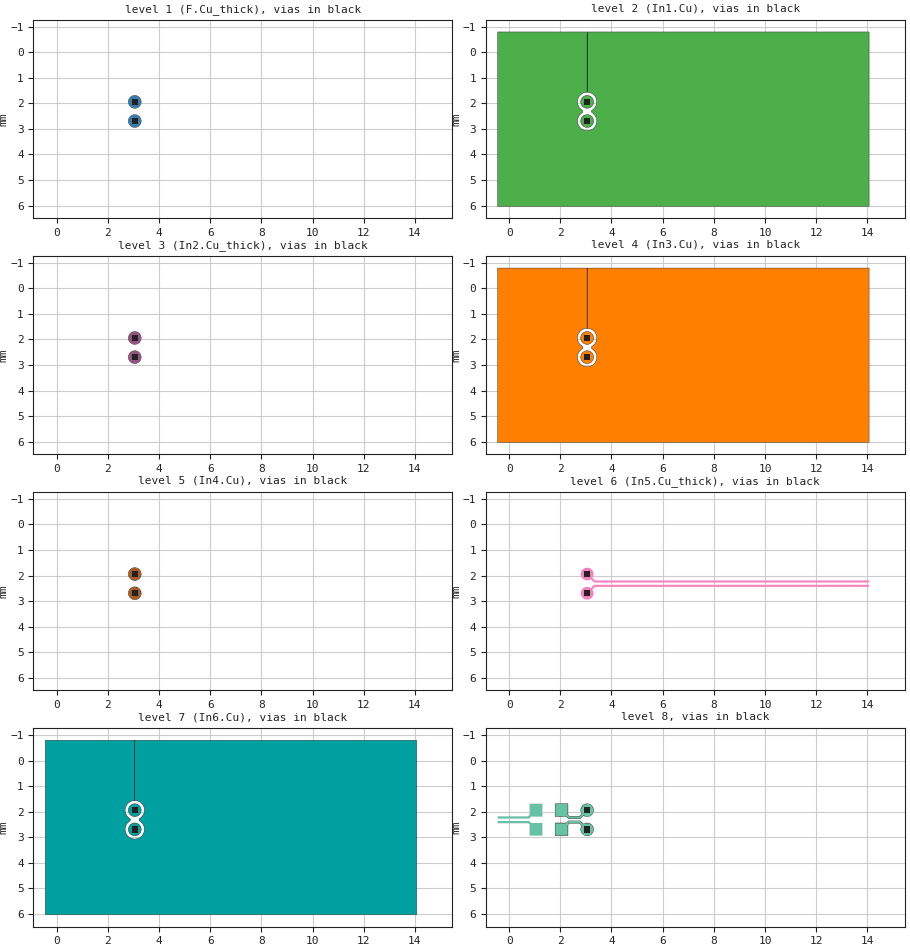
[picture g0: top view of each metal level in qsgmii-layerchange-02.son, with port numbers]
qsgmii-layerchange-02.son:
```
FTYP SONPROJ 19 ! Sonnet Project File
VER 18.56
HEADER
LIC antikernel2.1.52448
DAT 06/25/2023 11:23:11
BUILT_BY_CREATED dxf 18.56 06/07/2023 00:06:12
BUILT_BY_SAVED sonnet 18.56
MDATE 06/25/2023 11:23:11
HDATE 06/25/2023 11:23:11
ANN Created by dxfgeo, Sonnet Software Inc.
END HEADER
DIM
ANG DEG
CAP PF
CON /OH
FREQ GHZ
IND NH
LNG MM
RES OH
END DIM
CONTROL
VARSWP
OPTIONS  -dj
SPEED 1
CACHE_ABS 2
Q_ACC N
END CONTROL
GEO
TMET "Free Space" 0 FREESPACE 376.7303136 0 0 0
BMET "Free Space" 0 FREESPACE 376.7303136 0 0 0
MET "Copper_1oz_thin" 1 NOR 58000000 0.5 0.035 
MET "Copper_1oz_thick" 2 TMM 58000000 0.5 0.035 2
MET "Copper_0.5oz_thin" 4 NOR 58000000 0.5 0.017 
MET "Copper_0.5oz_thick" 12 TMM 58000000 0.5 0.017 2
MET "Copper_0.5oz_thick_down" 5 TMM 58000000 0.5 0.017 2 CDVY TDWN
MET "Copper_1oz_thick_down" 3 TMM 58000000 0.5 0.035 2 CDVY TDWN
BOX 10 15 4.2 3000 840 20 0
      5 1 1 0 0 0 0 "Air"
      0.04 3.5 1 0.025 0 0 0 "Soldermask"
      0.075 3.9 1 0.008 0 0 0 "TU-872_SLK"
      0.1 3.9 1 0.008 0 0 0 "TU-872_SLK"
      0.143 3.9 1 0.008 0 0 0 "TU-872_SLK"
      0.7 4.49 1 0.016 0 0 0 "Shengyi_S1000-2M"
      0.143 3.9 1 0.008 0 0 0 "TU-872_SLK"
      0.1 3.9 1 0.008 0 0 0 "TU-872_SLK"
      0.075 3.9 1 0.008 0 0 0 "TU-872_SLK"
      0.04 3.5 1 0.025 0 0 0 "Soldermask"
      5 1 1 0 0 0 0 "Air"
TECHLAY VIA Via1 L9D0 -13 -65534 CAD Via1 drawing 
VIA POLYGON
1 0 -1 N 2706 1 1 100 100 0 0 0 Y
TOLEVEL 8 RING NOCOVERS
END
END
TECHLAY METAL F.Cu_thick L1D0 -2 -65534 CAD F.Cu_thick drawing 
1 0 1 N 2708 1 1 100 100 0 0 0 Y
END
END
TECHLAY METAL F.Cu_thin <UNSPECIFIED> -1 -65534 CAD F.Cu_thin drawing 
1 0 0 N 2710 1 1 100 100 0 0 0 Y
END
END
TECHLAY METAL In1.Cu L2D0 -3 -65534 CAD In1.Cu drawing 
2 0 0 N 2713 1 1 100 100 0 0 0 Y
END
END
TECHLAY METAL In2.Cu_thick L3D0 -5 -65534 CAD In2.Cu_thick drawing 
3 0 3 N 2716 1 1 100 100 0 0 0 Y
END
END
TECHLAY METAL In2.Cu_thin <UNSPECIFIED> -4 -65534 CAD In2.Cu drawing 
3 0 2 N 2718 1 1 100 100 0 0 0 Y
END
END
TECHLAY METAL In3.Cu L4D0 -6 -65534 CAD In3.Cu drawing 
4 0 0 N 2721 1 1 100 100 0 0 0 Y
END
END
TECHLAY METAL In4.Cu L5D0 -7 -65534 CAD In4.Cu drawing 
5 0 0 N 2724 1 1 100 100 0 0 0 Y
END
END
TECHLAY METAL In5.Cu_thick L6D0 -9 -65534 CAD In5.Cu_thick drawing 
6 0 4 N 2727 1 1 100 100 0 0 0 Y
END
END
TECHLAY METAL In5.Cu_thin <UNSPECIFIED> -8 -65534 CAD In5.Cu drawing 
6 0 2 N 2729 1 1 100 100 0 0 0 Y
END
END
TECHLAY METAL In6.Cu L7D0 -10 -65534 CAD In6.Cu drawing 
7 0 0 N 2732 1 1 100 100 0 0 0 Y
END
END
TECHLAY METAL B.Cu_thick L8D0 -12 -65534 CAD B.Cu_thick drawing 
8 0 5 N 2735 1 1 100 100 0 0 0 Y
END
END
TECHLAY METAL B.Cu_thin <UNSPECIFIED> -11 -65534 CAD B.Cu_thin drawing 
8 0 0 N 2737 1 1 100 100 0 0 0 Y
END
END
VALVAR CORE_ER NONE "table1(\"../../../sata-sniffer/sims/core_er.csv\",FREQ)" "Variable set in material file"
VALVAR CORE_DF NONE "table1(\"../../../sata-sniffer/sims/core_df.csv\",FREQ)" "Variable set in material file"
VALVAR PREPREG_DF NONE "table1(\"../../../sata-sniffer/sims/prepreg_df.csv\",FREQ)" "Variable set in material file"
VALVAR PREPREG_ER NONE "table1(\"../../../sata-sniffer/sims/prepreg_er.csv\",FREQ)" "Variable set in material file"
LORGN 0 4.2 U 
NUM 23
VIA POLYGON
1 5 -1 N 2429 1 1 100 100 0 0 0 Y
TOLEVEL 8 RING NOCOVERS
TLAYNAM Via1 INH
2.9235625 2.816914063
2.9235625 2.566914063
3.1735625 2.566914063
3.1735625 2.816914063
2.9235625 2.816914063
END
VIA POLYGON
1 5 -1 N 2431 1 1 100 100 0 0 0 Y
TOLEVEL 8 RING NOCOVERS
TLAYNAM Via1 INH
2.9235625 2.066914063
2.9235625 1.816914063
3.1735625 1.816914063
3.1735625 2.066914063
2.9235625 2.066914063
END
1 65 1 N 129 1 1 100 100 0 0 0 Y
TLAYNAM F.Cu_thick INH
3.0365625 2.941914063
3.0115625 2.938914063
2.9875625 2.934914062
2.9645625 2.926914063
2.9415625 2.917914063
2.9195625 2.905914062
2.8995625 2.892914063
2.8805625 2.876914063
2.8635625 2.859914063
2.8475625 2.840914063
2.8345625 2.820914063
2.8225625 2.798914063
2.8135625 2.775914063
2.8055625 2.752914063
2.8015625 2.728914063
2.7985625 2.703914063
2.7985625 2.679914063
2.8015625 2.654914063
2.8055625 2.630914063
2.8135625 2.607914062
2.8225625 2.584914063
2.8345625 2.562914062
2.8475625 2.542914063
2.8635625 2.523914063
2.8805625 2.506914062
2.8995625 2.490914063
2.9195625 2.477914063
2.9415625 2.465914063
2.9645625 2.456914063
2.9875625 2.448914063
3.0115625 2.444914063
3.0365625 2.441914063
3.0605625 2.441914063
3.0855625 2.444914063
3.1095625 2.448914063
3.1325625 2.456914063
3.1555625 2.465914063
3.1775625 2.477914063
3.1975625 2.490914063
3.2165625 2.506914062
3.2335625 2.523914063
3.2495625 2.542914063
3.2625625 2.562914062
3.2745625 2.584914063
3.2835625 2.607914062
3.2915625 2.630914063
3.2955625 2.654914063
3.2985625 2.679914063
3.2985625 2.703914063
3.2955625 2.728914063
3.2915625 2.752914063
3.2835625 2.775914063
3.2745625 2.798914063
3.2625625 2.820914063
3.2495625 2.840914063
3.2335625 2.859914063
3.2165625 2.876914063
3.1975625 2.892914063
3.1775625 2.905914062
3.1555625 2.917914063
3.1325625 2.926914063
3.1095625 2.934914062
3.0855625 2.938914063
3.0605625 2.941914063
3.0365625 2.941914063
END
1 65 1 N 127 1 1 100 100 0 0 0 Y
TLAYNAM F.Cu_thick INH
3.0365625 2.191914063
3.0115625 2.188914063
2.9875625 2.184914062
2.9645625 2.176914063
2.9415625 2.167914062
2.9195625 2.155914062
2.8995625 2.142914063
2.8805625 2.126914063
2.8635625 2.109914063
2.8475625 2.090914063
2.8345625 2.070914063
2.8225625 2.048914063
2.8135625 2.025914063
2.8055625 2.002914063
2.8015625 1.978914063
2.7985625 1.953914063
2.7985625 1.929914063
2.8015625 1.904914063
2.8055625 1.880914063
2.8135625 1.857914062
2.8225625 1.834914063
2.8345625 1.812914062
2.8475625 1.792914062
2.8635625 1.773914063
2.8805625 1.756914062
2.8995625 1.740914063
2.9195625 1.727914063
2.9415625 1.715914063
2.9645625 1.706914063
2.9875625 1.698914063
3.0115625 1.694914063
3.0365625 1.691914063
3.0605625 1.691914063
3.0855625 1.694914063
3.1095625 1.698914063
3.1325625 1.706914063
3.1555625 1.715914063
3.1775625 1.727914063
3.1975625 1.740914063
3.2165625 1.756914062
3.2335625 1.773914063
3.2495625 1.792914062
3.2625625 1.812914062
3.2745625 1.834914063
3.2835625 1.857914062
3.2915625 1.880914063
3.2955625 1.904914063
3.2985625 1.929914063
3.2985625 1.953914063
3.2955625 1.978914063
3.2915625 2.002914063
3.2835625 2.025914063
3.2745625 2.048914063
3.2625625 2.070914063
3.2495625 2.090914063
3.2335625 2.109914063
3.2165625 2.126914063
3.1975625 2.142914063
3.1775625 2.155914062
3.1555625 2.167914062
3.1325625 2.176914063
3.1095625 2.184914062
3.0855625 2.188914063
3.0605625 2.191914063
3.0365625 2.191914063
END
2 65 0 N 556 1 1 100 100 0 0 0 Y
TLAYNAM In1.Cu INH
3.0365625 2.941914063
3.0115625 2.938914063
2.9875625 2.934914062
2.9645625 2.926914063
2.9415625 2.917914063
2.9195625 2.905914062
2.8995625 2.892914063
2.8805625 2.876914063
2.8635625 2.859914063
2.8475625 2.840914063
2.8345625 2.820914063
2.8225625 2.798914063
2.8135625 2.775914063
2.8055625 2.752914063
2.8015625 2.728914063
2.7985625 2.703914063
2.7985625 2.679914063
2.8015625 2.654914063
2.8055625 2.630914063
2.8135625 2.607914062
2.8225625 2.584914063
2.8345625 2.562914062
2.8475625 2.542914063
2.8635625 2.523914063
2.8805625 2.506914062
2.8995625 2.490914063
2.9195625 2.477914063
2.9415625 2.465914063
2.9645625 2.456914063
2.9875625 2.448914063
3.0115625 2.444914063
3.0365625 2.441914063
3.0605625 2.441914063
3.0855625 2.444914063
3.1095625 2.448914063
3.1325625 2.456914063
3.1555625 2.465914063
3.1775625 2.477914063
3.1975625 2.490914063
3.2165625 2.506914062
3.2335625 2.523914063
3.2495625 2.542914063
3.2625625 2.562914062
3.2745625 2.584914063
3.2835625 2.607914062
3.2915625 2.630914063
3.2955625 2.654914063
3.2985625 2.679914063
3.2985625 2.703914063
3.2955625 2.728914063
3.2915625 2.752914063
3.2835625 2.775914063
3.2745625 2.798914063
3.2625625 2.820914063
3.2495625 2.840914063
3.2335625 2.859914063
3.2165625 2.876914063
3.1975625 2.892914063
3.1775625 2.905914062
3.1555625 2.917914063
3.1325625 2.926914063
3.1095625 2.934914062
3.0855625 2.938914063
3.0605625 2.941914063
3.0365625 2.941914063
END
2 65 0 N 558 1 1 100 100 0 0 0 Y
TLAYNAM In1.Cu INH
3.0365625 2.191914063
3.0115625 2.188914063
2.9875625 2.184914062
2.9645625 2.176914063
2.9415625 2.167914062
2.9195625 2.155914062
2.8995625 2.142914063
2.8805625 2.126914063
2.8635625 2.109914063
2.8475625 2.090914063
2.8345625 2.070914063
2.8225625 2.048914063
2.8135625 2.025914063
2.8055625 2.002914063
2.8015625 1.978914063
2.7985625 1.953914063
2.7985625 1.929914063
2.8015625 1.904914063
2.8055625 1.880914063
2.8135625 1.857914062
2.8225625 1.834914063
2.8345625 1.812914062
2.8475625 1.792914062
2.8635625 1.773914063
2.8805625 1.756914062
2.8995625 1.740914063
2.9195625 1.727914063
2.9415625 1.715914063
2.9645625 1.706914063
2.9875625 1.698914063
3.0115625 1.694914063
3.0365625 1.691914063
3.0605625 1.691914063
3.0855625 1.694914063
3.1095625 1.698914063
3.1325625 1.706914063
3.1555625 1.715914063
3.1775625 1.727914063
3.1975625 1.740914063
3.2165625 1.756914062
3.2335625 1.773914063
3.2495625 1.792914062
3.2625625 1.812914062
3.2745625 1.834914063
3.2835625 1.857914062
3.2915625 1.880914063
3.2955625 1.904914063
3.2985625 1.929914063
3.2985625 1.953914063
3.2955625 1.978914063
3.2915625 2.002914063
3.2835625 2.025914063
3.2745625 2.048914063
3.2625625 2.070914063
3.2495625 2.090914063
3.2335625 2.109914063
3.2165625 2.126914063
3.1975625 2.142914063
3.1775625 2.155914062
3.1555625 2.167914062
3.1325625 2.176914063
3.1095625 2.184914062
3.0855625 2.188914063
3.0605625 2.191914063
3.0365625 2.191914063
END
2 64 0 N 2880 1 1 100 100 0 0 0 Y
TLAYNAM In1.Cu INH
14.07 -0.79
3.0485625 -0.79
3.0485625 1.561914063
3.0535625 1.562914062
3.1015625 1.569914063
3.1655625 1.579914063
3.2715625 1.633914063
3.3565625 1.718914063
3.4035625 1.811914063
3.4105625 1.824914062
3.4105625 1.828914063
3.4255625 1.923914063
3.4285625 1.941914063
3.4105625 2.058914063
3.3565625 2.164914062
3.2715625 2.249914063
3.2475625 2.261914063
3.2205625 2.288914063
3.2165625 2.335914063
3.2475625 2.371914063
3.2715625 2.383914063
3.3565625 2.468914063
3.4105625 2.574914062
3.4285625 2.691914063
3.4275625 2.696914062
3.4265625 2.705914062
3.4105625 2.808914063
3.4085625 2.811914063
3.3565625 2.914914063
3.2715625 2.999914063
3.1655625 3.053914062
3.0485625 3.071914062
2.9315625 3.053914062
2.8255625 2.999914063
2.7405625 2.914914063
2.6865625 2.808914063
2.6705625 2.705914062
2.6695625 2.696914062
2.6685625 2.691914063
2.6865625 2.574914062
2.7405625 2.468914063
2.8255625 2.383914063
2.8495625 2.371914063
2.8765625 2.344914063
2.8805625 2.297914063
2.8495625 2.261914063
2.8255625 2.249914063
2.7405625 2.164914062
2.6865625 2.058914063
2.6685625 1.941914063
2.6715625 1.923914063
2.6865625 1.828914063
2.6865625 1.824914062
2.7405625 1.718914063
2.8255625 1.633914063
2.9315625 1.579914063
2.9955625 1.569914063
3.0435625 1.562914062
3.0485625 1.561914063
3.0485625 -0.79
-0.45 -0.79
-0.45 6.025914063
14.07 6.025914063
14.07 -0.79
END
3 65 3 N 793 1 1 100 100 0 0 0 Y
TLAYNAM In2.Cu_thick INH
3.0365625 2.191914063
3.0115625 2.188914063
2.9875625 2.184914062
2.9645625 2.176914063
2.9415625 2.167914062
2.9195625 2.155914062
2.8995625 2.142914063
2.8805625 2.126914063
2.8635625 2.109914063
2.8475625 2.090914063
2.8345625 2.070914063
2.8225625 2.048914063
2.8135625 2.025914063
2.8055625 2.002914063
2.8015625 1.978914063
2.7985625 1.953914063
2.7985625 1.929914063
2.8015625 1.904914063
2.8055625 1.880914063
2.8135625 1.857914062
2.8225625 1.834914063
2.8345625 1.812914062
2.8475625 1.792914062
2.8635625 1.773914063
2.8805625 1.756914062
2.8995625 1.740914063
2.9195625 1.727914063
2.9415625 1.715914063
2.9645625 1.706914063
2.9875625 1.698914063
3.0115625 1.694914063
3.0365625 1.691914063
3.0605625 1.691914063
3.0855625 1.694914063
3.1095625 1.698914063
3.1325625 1.706914063
3.1555625 1.715914063
3.1775625 1.727914063
3.1975625 1.740914063
3.2165625 1.756914062
3.2335625 1.773914063
3.2495625 1.792914062
3.2625625 1.812914062
3.2745625 1.834914063
3.2835625 1.857914062
3.2915625 1.880914063
3.2955625 1.904914063
3.2985625 1.929914063
3.2985625 1.953914063
3.2955625 1.978914063
3.2915625 2.002914063
3.2835625 2.025914063
3.2745625 2.048914063
3.2625625 2.070914063
3.2495625 2.090914063
3.2335625 2.109914063
3.2165625 2.126914063
3.1975625 2.142914063
3.1775625 2.155914062
3.1555625 2.167914062
3.1325625 2.176914063
3.1095625 2.184914062
3.0855625 2.188914063
3.0605625 2.191914063
3.0365625 2.191914063
END
3 65 3 N 792 1 1 100 100 0 0 0 Y
TLAYNAM In2.Cu_thick INH
3.0365625 2.941914063
3.0115625 2.938914063
2.9875625 2.934914062
2.9645625 2.926914063
2.9415625 2.917914063
2.9195625 2.905914062
2.8995625 2.892914063
2.8805625 2.876914063
2.8635625 2.859914063
2.8475625 2.840914063
2.8345625 2.820914063
2.8225625 2.798914063
2.8135625 2.775914063
2.8055625 2.752914063
2.8015625 2.728914063
2.7985625 2.703914063
2.7985625 2.679914063
2.8015625 2.654914063
2.8055625 2.630914063
2.8135625 2.607914062
2.8225625 2.584914063
2.8345625 2.562914062
2.8475625 2.542914063
2.8635625 2.523914063
2.8805625 2.506914062
2.8995625 2.490914063
2.9195625 2.477914063
2.9415625 2.465914063
2.9645625 2.456914063
2.9875625 2.448914063
3.0115625 2.444914063
3.0365625 2.441914063
3.0605625 2.441914063
3.0855625 2.444914063
3.1095625 2.448914063
3.1325625 2.456914063
3.1555625 2.465914063
3.1775625 2.477914063
3.1975625 2.490914063
3.2165625 2.506914062
3.2335625 2.523914063
3.2495625 2.542914063
3.2625625 2.562914062
3.2745625 2.584914063
3.2835625 2.607914062
3.2915625 2.630914063
3.2955625 2.654914063
3.2985625 2.679914063
3.2985625 2.703914063
3.2955625 2.728914063
3.2915625 2.752914063
3.2835625 2.775914063
3.2745625 2.798914063
3.2625625 2.820914063
3.2495625 2.840914063
3.2335625 2.859914063
3.2165625 2.876914063
3.1975625 2.892914063
3.1775625 2.905914062
3.1555625 2.917914063
3.1325625 2.926914063
3.1095625 2.934914062
3.0855625 2.938914063
3.0605625 2.941914063
3.0365625 2.941914063
END
4 65 0 N 1084 1 1 100 100 0 0 0 Y
TLAYNAM In3.Cu INH
3.0365625 2.191914063
3.0115625 2.188914063
2.9875625 2.184914062
2.9645625 2.176914063
2.9415625 2.167914062
2.9195625 2.155914062
2.8995625 2.142914063
2.8805625 2.126914063
2.8635625 2.109914063
2.8475625 2.090914063
2.8345625 2.070914063
2.8225625 2.048914063
2.8135625 2.025914063
2.8055625 2.002914063
2.8015625 1.978914063
2.7985625 1.953914063
2.7985625 1.929914063
2.8015625 1.904914063
2.8055625 1.880914063
2.8135625 1.857914062
2.8225625 1.834914063
2.8345625 1.812914062
2.8475625 1.792914062
2.8635625 1.773914063
2.8805625 1.756914062
2.8995625 1.740914063
2.9195625 1.727914063
2.9415625 1.715914063
2.9645625 1.706914063
2.9875625 1.698914063
3.0115625 1.694914063
3.0365625 1.691914063
3.0605625 1.691914063
3.0855625 1.694914063
3.1095625 1.698914063
3.1325625 1.706914063
3.1555625 1.715914063
3.1775625 1.727914063
3.1975625 1.740914063
3.2165625 1.756914062
3.2335625 1.773914063
3.2495625 1.792914062
3.2625625 1.812914062
3.2745625 1.834914063
3.2835625 1.857914062
3.2915625 1.880914063
3.2955625 1.904914063
3.2985625 1.929914063
3.2985625 1.953914063
3.2955625 1.978914063
3.2915625 2.002914063
3.2835625 2.025914063
3.2745625 2.048914063
3.2625625 2.070914063
3.2495625 2.090914063
3.2335625 2.109914063
3.2165625 2.126914063
3.1975625 2.142914063
3.1775625 2.155914062
3.1555625 2.167914062
3.1325625 2.176914063
3.1095625 2.184914062
3.0855625 2.188914063
3.0605625 2.191914063
3.0365625 2.191914063
END
4 65 0 N 1097 1 1 100 100 0 0 0 Y
TLAYNAM In3.Cu INH
3.0365625 2.941914063
3.0115625 2.938914063
2.9875625 2.934914062
2.9645625 2.926914063
2.9415625 2.917914063
2.9195625 2.905914062
2.8995625 2.892914063
2.8805625 2.876914063
2.8635625 2.859914063
2.8475625 2.840914063
2.8345625 2.820914063
2.8225625 2.798914063
2.8135625 2.775914063
2.8055625 2.752914063
2.8015625 2.728914063
2.7985625 2.703914063
2.7985625 2.679914063
2.8015625 2.654914063
2.8055625 2.630914063
2.8135625 2.607914062
2.8225625 2.584914063
2.8345625 2.562914062
2.8475625 2.542914063
2.8635625 2.523914063
2.8805625 2.506914062
2.8995625 2.490914063
2.9195625 2.477914063
2.9415625 2.465914063
2.9645625 2.456914063
2.9875625 2.448914063
3.0115625 2.444914063
3.0365625 2.441914063
3.0605625 2.441914063
3.0855625 2.444914063
3.1095625 2.448914063
3.1325625 2.456914063
3.1555625 2.465914063
3.1775625 2.477914063
3.1975625 2.490914063
3.2165625 2.506914062
3.2335625 2.523914063
3.2495625 2.542914063
3.2625625 2.562914062
3.2745625 2.584914063
3.2835625 2.607914062
3.2915625 2.630914063
3.2955625 2.654914063
3.2985625 2.679914063
3.2985625 2.703914063
3.2955625 2.728914063
3.2915625 2.752914063
3.2835625 2.775914063
3.2745625 2.798914063
3.2625625 2.820914063
3.2495625 2.840914063
3.2335625 2.859914063
3.2165625 2.876914063
3.1975625 2.892914063
3.1775625 2.905914062
3.1555625 2.917914063
3.1325625 2.926914063
3.1095625 2.934914062
3.0855625 2.938914063
3.0605625 2.941914063
3.0365625 2.941914063
END
4 72 0 N 2887 1 1 100 100 0 0 0 Y
TLAYNAM In3.Cu INH
13.7955625 6.025914063
14.07 6.025914063
14.07 0.36
14.07 -0.79
3.0485625 -0.79
3.0485625 1.561914063
3.0535625 1.562914062
3.0895625 1.567914063
3.1655625 1.579914063
3.2715625 1.633914063
3.3565625 1.718914063
3.4105625 1.824914062
3.4175625 1.869914062
3.4255625 1.923914063
3.4285625 1.941914063
3.4275625 1.946914062
3.4265625 1.952914062
3.4105625 2.058914063
3.3565625 2.164914062
3.2715625 2.249914063
3.2475625 2.261914063
3.2205625 2.288914063
3.2165625 2.335914063
3.2475625 2.371914063
3.2715625 2.383914063
3.3565625 2.468914063
3.4105625 2.574914062
3.4285625 2.691914063
3.4275625 2.696914062
3.4265625 2.705914062
3.4105625 2.808914063
3.3565625 2.914914063
3.2715625 2.999914063
3.1655625 3.053914062
3.0485625 3.071914062
2.9315625 3.053914062
2.8255625 2.999914063
2.7405625 2.914914063
2.6865625 2.808914063
2.6705625 2.705914062
2.6695625 2.696914062
2.6685625 2.691914063
2.6865625 2.574914062
2.7405625 2.468914063
2.8255625 2.383914063
2.8495625 2.371914063
2.8765625 2.344914063
2.8805625 2.297914063
2.8495625 2.261914063
2.8255625 2.249914063
2.7405625 2.164914062
2.6865625 2.058914063
2.6705625 1.952914062
2.6695625 1.946914062
2.6685625 1.941914063
2.6715625 1.923914063
2.6795625 1.869914062
2.6865625 1.824914062
2.7405625 1.718914063
2.8255625 1.633914063
2.9315625 1.579914063
3.0075625 1.567914063
3.0435625 1.562914062
3.0485625 1.561914063
3.0485625 -0.79
-0.45 -0.79
-0.45 0.441914063
-0.45 3.228914063
-0.45 3.228914063
-0.45 6.025914063
13.7955625 6.025914063
13.7955625 6.025914063
END
5 65 0 N 1344 1 1 100 100 0 0 0 Y
TLAYNAM In4.Cu INH
3.0365625 2.191914063
3.0115625 2.188914063
2.9875625 2.184914062
2.9645625 2.176914063
2.9415625 2.167914062
2.9195625 2.155914062
2.8995625 2.142914063
2.8805625 2.126914063
2.8635625 2.109914063
2.8475625 2.090914063
2.8345625 2.070914063
2.8225625 2.048914063
2.8135625 2.025914063
2.8055625 2.002914063
2.8015625 1.978914063
2.7985625 1.953914063
2.7985625 1.929914063
2.8015625 1.904914063
2.8055625 1.880914063
2.8135625 1.857914062
2.8225625 1.834914063
2.8345625 1.812914062
2.8475625 1.792914062
2.8635625 1.773914063
2.8805625 1.756914062
2.8995625 1.740914063
2.9195625 1.727914063
2.9415625 1.715914063
2.9645625 1.706914063
2.9875625 1.698914063
3.0115625 1.694914063
3.0365625 1.691914063
3.0605625 1.691914063
3.0855625 1.694914063
3.1095625 1.698914063
3.1325625 1.706914063
3.1555625 1.715914063
3.1775625 1.727914063
3.1975625 1.740914063
3.2165625 1.756914062
3.2335625 1.773914063
3.2495625 1.792914062
3.2625625 1.812914062
3.2745625 1.834914063
3.2835625 1.857914062
3.2915625 1.880914063
3.2955625 1.904914063
3.2985625 1.929914063
3.2985625 1.953914063
3.2955625 1.978914063
3.2915625 2.002914063
3.2835625 2.025914063
3.2745625 2.048914063
3.2625625 2.070914063
3.2495625 2.090914063
3.2335625 2.109914063
3.2165625 2.126914063
3.1975625 2.142914063
3.1775625 2.155914062
3.1555625 2.167914062
3.1325625 2.176914063
3.1095625 2.184914062
3.0855625 2.188914063
3.0605625 2.191914063
3.0365625 2.191914063
END
5 65 0 N 1352 1 1 100 100 0 0 0 Y
TLAYNAM In4.Cu INH
3.0365625 2.941914063
3.0115625 2.938914063
2.9875625 2.934914062
2.9645625 2.926914063
2.9415625 2.917914063
2.9195625 2.905914062
2.8995625 2.892914063
2.8805625 2.876914063
2.8635625 2.859914063
2.8475625 2.840914063
2.8345625 2.820914063
2.8225625 2.798914063
2.8135625 2.775914063
2.8055625 2.752914063
2.8015625 2.728914063
2.7985625 2.703914063
2.7985625 2.679914063
2.8015625 2.654914063
2.8055625 2.630914063
2.8135625 2.607914062
2.8225625 2.584914063
2.8345625 2.562914062
2.8475625 2.542914063
2.8635625 2.523914063
2.8805625 2.506914062
2.8995625 2.490914063
2.9195625 2.477914063
2.9415625 2.465914063
2.9645625 2.456914063
2.9875625 2.448914063
3.0115625 2.444914063
3.0365625 2.441914063
3.0605625 2.441914063
3.0855625 2.444914063
3.1095625 2.448914063
3.1325625 2.456914063
3.1555625 2.465914063
3.1775625 2.477914063
3.1975625 2.490914063
3.2165625 2.506914062
3.2335625 2.523914063
3.2495625 2.542914063
3.2625625 2.562914062
3.2745625 2.584914063
3.2835625 2.607914062
3.2915625 2.630914063
3.2955625 2.654914063
3.2985625 2.679914063
3.2985625 2.703914063
3.2955625 2.728914063
3.2915625 2.752914063
3.2835625 2.775914063
3.2745625 2.798914063
3.2625625 2.820914063
3.2495625 2.840914063
3.2335625 2.859914063
3.2165625 2.876914063
3.1975625 2.892914063
3.1775625 2.905914062
3.1555625 2.917914063
3.1325625 2.926914063
3.1095625 2.934914062
3.0855625 2.938914063
3.0605625 2.941914063
3.0365625 2.941914063
END
6 71 4 N 2889 1 1 100 100 0 0 0 Y
TLAYNAM In5.Cu_thick INH
3.0855625 2.938914063
3.1095625 2.934914062
3.1325625 2.926914063
3.1555625 2.917914063
3.1775625 2.905914062
3.1975625 2.892914063
3.2165625 2.876914063
3.2335625 2.859914063
3.2495625 2.840914063
3.2625625 2.820914063
3.2745625 2.798914063
3.2835625 2.775914063
3.2915625 2.752914063
3.2955625 2.728914063
3.2985625 2.703914063
3.2985625 2.679914063
3.2955625 2.654914063
3.2915625 2.630914063
3.2835625 2.607914062
3.2745625 2.584914063
3.2625625 2.562914062
3.2515625 2.545914063
3.3545625 2.442914063
14.07 2.442914063
14.07 2.360914062
3.3365625 2.360914062
3.3245625 2.363914062
3.3215625 2.364914063
3.3175625 2.366914062
3.3145625 2.368914063
3.1945625 2.488914062
3.1775625 2.477914063
3.1555625 2.465914063
3.1325625 2.456914063
3.1095625 2.448914063
3.0855625 2.444914063
3.0605625 2.441914063
3.0365625 2.441914063
3.0115625 2.444914063
2.9875625 2.448914063
2.9645625 2.456914063
2.9415625 2.465914063
2.9195625 2.477914063
2.8995625 2.490914063
2.8805625 2.506914062
2.8635625 2.523914063
2.8475625 2.542914063
2.8345625 2.562914062
2.8225625 2.584914063
2.8135625 2.607914062
2.8055625 2.630914063
2.8015625 2.654914063
2.7985625 2.679914063
2.7985625 2.703914063
2.8015625 2.728914063
2.8055625 2.752914063
2.8135625 2.775914063
2.8225625 2.798914063
2.8345625 2.820914063
2.8475625 2.840914063
2.8635625 2.859914063
2.8805625 2.876914063
2.8995625 2.892914063
2.9195625 2.905914062
2.9415625 2.917914063
2.9645625 2.926914063
2.9875625 2.934914062
3.0115625 2.938914063
3.0365625 2.941914063
3.0605625 2.941914063
3.0855625 2.938914063
END
6 71 4 N 2890 1 1 100 100 0 0 0 Y
TLAYNAM In5.Cu_thick INH
14.07 2.190914062
3.3545625 2.190914062
3.2515625 2.087914063
3.2625625 2.070914063
3.2745625 2.048914063
3.2835625 2.025914063
3.2915625 2.002914063
3.2955625 1.978914063
3.2985625 1.953914063
3.2985625 1.929914063
3.2955625 1.904914063
3.2915625 1.880914063
3.2835625 1.857914062
3.2745625 1.834914063
3.2625625 1.812914062
3.2495625 1.792914062
3.2335625 1.773914063
3.2165625 1.756914062
3.1975625 1.740914063
3.1775625 1.727914063
3.1555625 1.715914063
3.1325625 1.706914063
3.1095625 1.698914063
3.0855625 1.694914063
3.0605625 1.691914063
3.0365625 1.691914063
3.0115625 1.694914063
2.9875625 1.698914063
2.9645625 1.706914063
2.9415625 1.715914063
2.9195625 1.727914063
2.8995625 1.740914063
2.8805625 1.756914062
2.8635625 1.773914063
2.8475625 1.792914062
2.8345625 1.812914062
2.8225625 1.834914063
2.8135625 1.857914062
2.8055625 1.880914063
2.8015625 1.904914063
2.7985625 1.929914063
2.7985625 1.953914063
2.8015625 1.978914063
2.8055625 2.002914063
2.8135625 2.025914063
2.8225625 2.048914063
2.8345625 2.070914063
2.8475625 2.090914063
2.8635625 2.109914063
2.8805625 2.126914063
2.8995625 2.142914063
2.9195625 2.155914062
2.9415625 2.167914062
2.9645625 2.176914063
2.9875625 2.184914062
3.0115625 2.188914063
3.0365625 2.191914063
3.0605625 2.191914063
3.0855625 2.188914063
3.1095625 2.184914062
3.1325625 2.176914063
3.1555625 2.167914062
3.1775625 2.155914062
3.1945625 2.144914063
3.3145625 2.264914063
3.3175625 2.266914063
3.3215625 2.268914062
3.3245625 2.269914063
3.3365625 2.272914063
14.07 2.272914063
14.07 2.190914062
END
7 65 0 N 1906 1 1 100 100 0 0 0 Y
TLAYNAM In6.Cu INH
3.0365625 2.191914063
3.0115625 2.188914063
2.9875625 2.184914062
2.9645625 2.176914063
2.9415625 2.167914062
2.9195625 2.155914062
2.8995625 2.142914063
2.8805625 2.126914063
2.8635625 2.109914063
2.8475625 2.090914063
2.8345625 2.070914063
2.8225625 2.048914063
2.8135625 2.025914063
2.8055625 2.002914063
2.8015625 1.978914063
2.7985625 1.953914063
2.7985625 1.929914063
2.8015625 1.904914063
2.8055625 1.880914063
2.8135625 1.857914062
2.8225625 1.834914063
2.8345625 1.812914062
2.8475625 1.792914062
2.8635625 1.773914063
2.8805625 1.756914062
2.8995625 1.740914063
2.9195625 1.727914063
2.9415625 1.715914063
2.9645625 1.706914063
2.9875625 1.698914063
3.0115625 1.694914063
3.0365625 1.691914063
3.0605625 1.691914063
3.0855625 1.694914063
3.1095625 1.698914063
3.1325625 1.706914063
3.1555625 1.715914063
3.1775625 1.727914063
3.1975625 1.740914063
3.2165625 1.756914062
3.2335625 1.773914063
3.2495625 1.792914062
3.2625625 1.812914062
3.2745625 1.834914063
3.2835625 1.857914062
3.2915625 1.880914063
3.2955625 1.904914063
3.2985625 1.929914063
3.2985625 1.953914063
3.2955625 1.978914063
3.2915625 2.002914063
3.2835625 2.025914063
3.2745625 2.048914063
3.2625625 2.070914063
3.2495625 2.090914063
3.2335625 2.109914063
3.2165625 2.126914063
3.1975625 2.142914063
3.1775625 2.155914062
3.1555625 2.167914062
3.1325625 2.176914063
3.1095625 2.184914062
3.0855625 2.188914063
3.0605625 2.191914063
3.0365625 2.191914063
END
7 65 0 N 1904 1 1 100 100 0 0 0 Y
TLAYNAM In6.Cu INH
3.0365625 2.941914063
3.0115625 2.938914063
2.9875625 2.934914062
2.9645625 2.926914063
2.9415625 2.917914063
2.9195625 2.905914062
2.8995625 2.892914063
2.8805625 2.876914063
2.8635625 2.859914063
2.8475625 2.840914063
2.8345625 2.820914063
2.8225625 2.798914063
2.8135625 2.775914063
2.8055625 2.752914063
2.8015625 2.728914063
2.7985625 2.703914063
2.7985625 2.679914063
2.8015625 2.654914063
2.8055625 2.630914063
2.8135625 2.607914062
2.8225625 2.584914063
2.8345625 2.562914062
2.8475625 2.542914063
2.8635625 2.523914063
2.8805625 2.506914062
2.8995625 2.490914063
2.9195625 2.477914063
2.9415625 2.465914063
2.9645625 2.456914063
2.9875625 2.448914063
3.0115625 2.444914063
3.0365625 2.441914063
3.0605625 2.441914063
3.0855625 2.444914063
3.1095625 2.448914063
3.1325625 2.456914063
3.1555625 2.465914063
3.1775625 2.477914063
3.1975625 2.490914063
3.2165625 2.506914062
3.2335625 2.523914063
3.2495625 2.542914063
3.2625625 2.562914062
3.2745625 2.584914063
3.2835625 2.607914062
3.2915625 2.630914063
3.2955625 2.654914063
3.2985625 2.679914063
3.2985625 2.703914063
3.2955625 2.728914063
3.2915625 2.752914063
3.2835625 2.775914063
3.2745625 2.798914063
3.2625625 2.820914063
3.2495625 2.840914063
3.2335625 2.859914063
3.2165625 2.876914063
3.1975625 2.892914063
3.1775625 2.905914062
3.1555625 2.917914063
3.1325625 2.926914063
3.1095625 2.934914062
3.0855625 2.938914063
3.0605625 2.941914063
3.0365625 2.941914063
END
7 69 0 N 2875 1 1 100 100 0 0 0 Y
TLAYNAM In6.Cu INH
14.07 6.025914063
14.07 6.025914063
14.07 -0.79
3.0485625 -0.79
3.0485625 1.561914063
3.0535625 1.562914062
3.1015625 1.569914063
3.1655625 1.579914063
3.2715625 1.633914063
3.3565625 1.718914063
3.4035625 1.811914063
3.4105625 1.824914062
3.4105625 1.828914063
3.4255625 1.923914063
3.4285625 1.941914063
3.4105625 2.058914063
3.3565625 2.164914062
3.2715625 2.249914063
3.2475625 2.261914063
3.2205625 2.288914063
3.2165625 2.335914063
3.2475625 2.371914063
3.2715625 2.383914063
3.3565625 2.468914063
3.4105625 2.574914062
3.4285625 2.691914063
3.4275625 2.696914062
3.4265625 2.705914062
3.4105625 2.808914063
3.4085625 2.811914063
3.3565625 2.914914063
3.2715625 2.999914063
3.1655625 3.053914062
3.0485625 3.071914062
2.9315625 3.053914062
2.8255625 2.999914063
2.7405625 2.914914063
2.6865625 2.808914063
2.6705625 2.705914062
2.6695625 2.696914062
2.6685625 2.691914063
2.6865625 2.574914062
2.7405625 2.468914063
2.8255625 2.383914063
2.8495625 2.371914063
2.8765625 2.344914063
2.8805625 2.297914063
2.8495625 2.261914063
2.8255625 2.249914063
2.7405625 2.164914062
2.6865625 2.058914063
2.6685625 1.941914063
2.6715625 1.923914063
2.6865625 1.828914063
2.6865625 1.824914062
2.7405625 1.718914063
2.8255625 1.633914063
2.9315625 1.579914063
2.9955625 1.569914063
3.0435625 1.562914062
3.0485625 1.561914063
3.0485625 -0.79
-0.45 -0.79
-0.45 1.191914063
-0.45 3.15
-0.45 3.15
-0.45 6.025914063
14.07 6.025914063
14.07 6.025914063
END
8 84 5 N 2119 1 1 100 100 0 0 0 Y
1.7985625 2.941914063
1.7985625 2.441914063
2.2355625 2.441914063
2.3065625 2.370914063
2.3105625 2.367914063
2.3145625 2.365914063
2.3185625 2.364914063
2.3225625 2.362914063
2.3265625 2.361914063
2.7705625 2.361914063
2.7745625 2.362914063
2.7785625 2.364914063
2.7825625 2.365914063
2.7865625 2.367914063
2.7905625 2.370914063
2.7995625 2.379914063
2.8025625 2.383914063
2.9065625 2.486914063
2.9195625 2.477914063
2.9415625 2.465914063
2.9645625 2.456914063
2.9875625 2.448914063
3.0115625 2.444914063
3.0365625 2.441914063
3.0605625 2.441914063
3.0855625 2.444914063
3.1095625 2.448914063
3.1325625 2.456914063
3.1555625 2.465914063
3.1775625 2.477914063
3.1975625 2.490914063
3.2165625 2.506914062
3.2335625 2.523914063
3.2495625 2.542914063
3.2625625 2.562914062
3.2745625 2.584914063
3.2835625 2.607914062
3.2915625 2.630914063
3.2955625 2.654914063
3.2985625 2.679914063
3.2985625 2.703914063
3.2955625 2.728914063
3.2915625 2.752914063
3.2835625 2.775914063
3.2745625 2.798914063
3.2625625 2.820914063
3.2495625 2.840914063
3.2335625 2.859914063
3.2165625 2.876914063
3.1975625 2.892914063
3.1775625 2.905914062
3.1555625 2.917914063
3.1325625 2.926914063
3.1095625 2.934914062
3.0855625 2.938914063
3.0605625 2.941914063
3.0365625 2.941914063
3.0115625 2.938914063
2.9875625 2.934914062
2.9645625 2.926914063
2.9415625 2.917914063
2.9195625 2.905914062
2.8995625 2.892914063
2.8805625 2.876914063
2.8635625 2.859914063
2.8475625 2.840914063
2.8345625 2.820914063
2.8225625 2.798914063
2.8135625 2.775914063
2.8055625 2.752914063
2.8015625 2.728914063
2.7985625 2.703914063
2.7985625 2.679914063
2.8015625 2.654914063
2.8055625 2.630914063
2.8135625 2.607914062
2.8225625 2.584914063
2.8345625 2.562914062
2.8435625 2.549914063
2.7455625 2.451914063
2.3515625 2.451914063
2.2985625 2.504914063
2.2985625 2.941914063
1.7985625 2.941914063
END
8 82 5 N 2122 1 1 100 100 0 0 0 Y
2.3265625 2.271914062
2.3225625 2.270914063
2.3185625 2.268914062
2.3145625 2.267914063
2.3105625 2.265914062
2.3065625 2.262914062
2.2355625 2.191914063
1.7985625 2.191914063
1.7985625 1.691914063
2.2985625 1.691914063
2.2985625 2.128914062
2.3515625 2.181914062
2.7455625 2.181914062
2.8435625 2.083914062
2.8345625 2.070914063
2.8225625 2.048914063
2.8135625 2.025914063
2.8055625 2.002914063
2.8015625 1.978914063
2.7985625 1.953914063
2.7985625 1.929914063
2.8015625 1.904914063
2.8055625 1.880914063
2.8135625 1.857914062
2.8225625 1.834914063
2.8345625 1.812914062
2.8475625 1.792914062
2.8635625 1.773914063
2.8805625 1.756914062
2.8995625 1.740914063
2.9195625 1.727914063
2.9415625 1.715914063
2.9645625 1.706914063
2.9875625 1.698914063
3.0115625 1.694914063
3.0365625 1.691914063
3.0605625 1.691914063
3.0855625 1.694914063
3.1095625 1.698914063
3.1325625 1.706914063
3.1555625 1.715914063
3.1775625 1.727914063
3.1975625 1.740914063
3.2165625 1.756914062
3.2335625 1.773914063
3.2495625 1.792914062
3.2625625 1.812914062
3.2745625 1.834914063
3.2835625 1.857914062
3.2915625 1.880914063
3.2955625 1.904914063
3.2985625 1.929914063
3.2985625 1.953914063
3.2955625 1.978914063
3.2915625 2.002914063
3.2835625 2.025914063
3.2745625 2.048914063
3.2625625 2.070914063
3.2495625 2.090914063
3.2335625 2.109914063
3.2165625 2.126914063
3.1975625 2.142914063
3.1775625 2.155914062
3.1555625 2.167914062
3.1325625 2.176914063
3.1095625 2.184914062
3.0855625 2.188914063
3.0605625 2.191914063
3.0365625 2.191914063
3.0115625 2.188914063
2.9875625 2.184914062
2.9645625 2.176914063
2.9415625 2.167914062
2.9195625 2.155914062
2.9065625 2.146914062
2.7905625 2.262914062
2.7865625 2.265914062
2.7825625 2.267914063
2.7785625 2.268914062
2.7745625 2.270914063
2.7705625 2.271914062
2.3265625 2.271914062
END
8 17 5 N 2853 1 1 100 100 0 0 0 Y
1.2985625 2.441914063
0.8615625 2.441914063
0.8025625 2.383914063
0.7995625 2.379914063
0.7905625 2.370914063
0.7865625 2.367914063
0.7825625 2.365914063
0.7785625 2.364914063
0.7745625 2.362914063
0.7705625 2.361914063
-0.45 2.361914063
-0.45 2.451914063
0.7455625 2.451914063
0.7985625 2.504914063
0.7985625 2.941914063
1.2985625 2.941914063
1.2985625 2.441914063
END
8 17 5 N 2860 1 1 100 100 0 0 0 Y
0.7745625 2.270914063
0.7785625 2.268914062
0.7835625 2.267914063
0.7865625 2.265914062
0.7945625 2.259914062
0.7975625 2.256914062
0.7995625 2.253914062
0.8615625 2.191914063
1.2985625 2.191914063
1.2985625 1.691914063
0.7985625 1.691914063
0.7985625 2.128914062
0.7455625 2.181914062
-0.45 2.181914062
-0.45 2.271914062
0.7705625 2.271914062
0.7745625 2.270914063
END
END GEO
OPT
MAX 100
END OPT
VARSWP
ENABLED Y
FREQ Y AY ABS_ENTRY 0.01 1.0 -1 300 
END
END VARSWP
```
